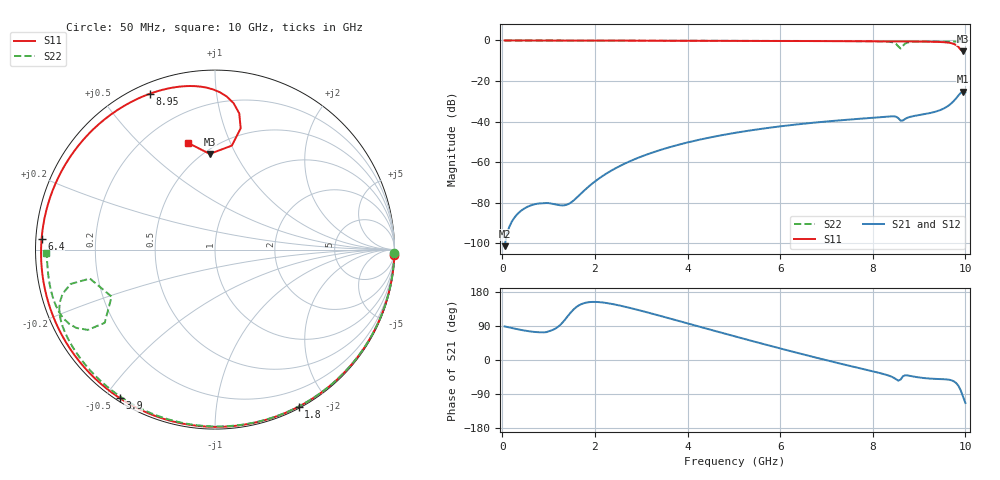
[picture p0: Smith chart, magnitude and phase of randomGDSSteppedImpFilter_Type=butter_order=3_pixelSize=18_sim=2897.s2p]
! freq	dB(S11)	phase(S11)	dB(S12)	phase(S12)
!  dB(S21)	phase(S21)	dB(S22)	phase(S22)
!S-par simulation data
#  GHz  S  DB  R 50
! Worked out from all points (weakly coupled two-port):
!   200 points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, 50 MHz to 10 GHz, reference 50 ohm
!   highest |S21| = -25.22 dB at 9.95 GHz (marker M1); lowest = -101.5 dB at 50 MHz (marker M2)
!   lowest |S11| = -5.4 dB at 9.95 GHz (marker M3), VSWR 3.29, Z = 26.6 + j39.7 ohm
!   |S11| at or under -10 dB: nowhere
!   |S22| runs from -4.0 to 0.0 dB; largest |S21 - S12| = 0
!   S11 on the Smith chart (normalised r, x): 50 MHz: 0, -63; 1.8 GHz: 0.02, -1.67; 3.9 GHz: 0.01, -0.55; 6.4 GHz: 0.02, +0.03; 8.95 GHz: 0.04, +0.67; 10 GHz: 0.37, +0.71
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0.05  -0.00 -1.8  -101.49 88.6  -101.49 88.6  -0.00 -1.1
0.7  -0.03 -24.8  -80.80 74.0  -80.80 74.0  -0.02 -14.9
1.45  -0.06 -50.5  -80.43 121.2  -80.43 121.2  -0.04 -30.6
1.75  -0.07 -60.3  -74.45 149.4  -74.45 149.4  -0.05 -36.8
1.8  -0.08 -61.9  -73.40 151.1  -73.40 151.1  -0.05 -37.8
2.5  -0.10 -83.7  -62.39 144.7  -62.39 144.7  -0.07 -51.9
3.4  -0.13 -109.4  -54.12 116.8  -54.12 116.8  -0.09 -69.3
3.9  -0.15 -122.7  -50.89 100.0  -50.89 100.0  -0.11 -78.6
5.05  -0.20 -151.6  -45.49 61.4  -45.49 61.4  -0.15 -99.2
6.4  -0.28 176.4  -41.33 17.9  -41.33 17.9  -0.22 -122.2
6.7  -0.30 169.3  -40.62 8.5  -40.62 8.5  -0.25 -127.2
7.8  -0.39 142.8  -38.49 -24.1  -38.49 -24.1  -0.35 -146.2
8.35  -0.44 128.8  -37.52 -41.4  -37.52 -41.4  -0.65 -159.2
8.45  -0.45 126.2  -37.44 -46.6  -37.44 -46.6  -1.07 -163.8
8.55  -0.46 123.6  -38.28 -54.4  -38.28 -54.4  -2.91 -167.0
8.6  -0.47 122.3  -39.56 -51.7  -39.56 -51.7  -3.97 -155.5
8.7  -0.48 119.6  -38.68 -40.3  -38.68 -40.3  -1.54 -147.7
8.95  -0.53 112.6  -37.01 -45.2  -37.01 -45.2  -0.58 -158.1
9.65  -1.14 88.2  -31.91 -52.1  -31.91 -52.1  -0.55 -172.6
9.85  -3.21 78.0  -27.12 -68.3  -27.12 -68.3  -0.56 -176.1
9.95  -5.45 93.1  -25.22 -96.5  -25.22 -96.5  -0.56 -177.8
10  -4.25 104.2  -25.63 -113.4  -25.63 -113.4  -0.54 -178.8
